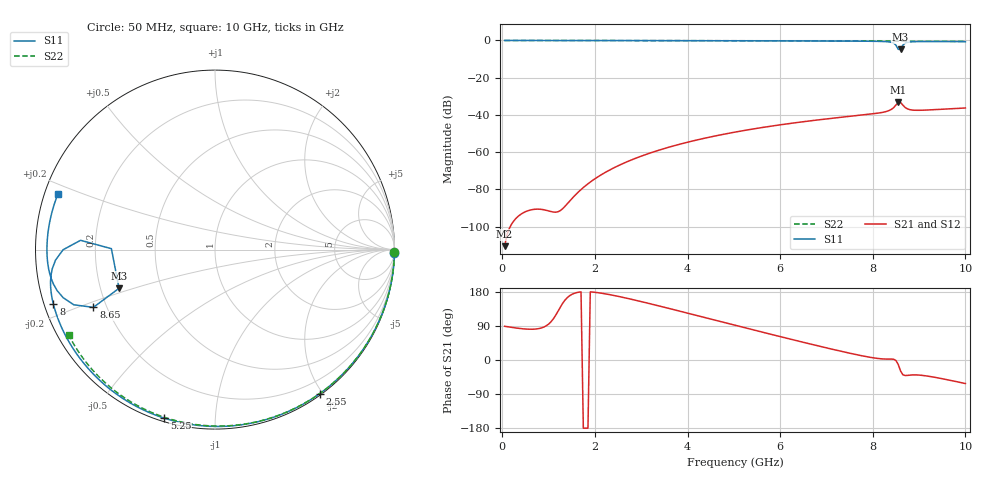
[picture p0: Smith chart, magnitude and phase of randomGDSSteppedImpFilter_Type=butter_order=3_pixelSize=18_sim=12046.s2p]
! freq	dB(S11)	phase(S11)	dB(S12)	phase(S12)
!  dB(S21)	phase(S21)	dB(S22)	phase(S22)
!S-par simulation data
#  GHz  S  DB  R 50
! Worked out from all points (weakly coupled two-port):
!   200 points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, 50 MHz to 10 GHz, reference 50 ohm
!   highest |S21| = -33.28 dB at 8.55 GHz (marker M1); lowest = -110.5 dB at 50 MHz (marker M2)
!   lowest |S11| = -4.8 dB at 8.6 GHz (marker M3), VSWR 3.72, Z = 13.9 - j8.97 ohm
!   |S11| at or under -10 dB: nowhere
!   |S22| runs from -0.5 to 0.0 dB; largest |S21 - S12| = 0
!   S11 on the Smith chart (normalised r, x): 50 MHz: open; 2.55 GHz: 0.02, -1.96; 5.25 GHz: 0.02, -0.74; 8 GHz: 0.03, -0.16; 8.65 GHz: 0.15, -0.22; 10 GHz: 0.04, +0.17
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0.05  -0.00 -1.1  -110.48 89.0  -110.48 89.0  -0.00 -0.9
0.85  -0.02 -18.4  -90.73 84.8  -90.73 84.8  -0.02 -14.6
1.7  -0.05 -36.5  -80.07 179.8  -80.07 179.8  -0.04 -29.0
1.75  -0.05 -37.5  -78.98 -179.8  -78.98 -179.8  -0.04 -29.8
2.1  -0.06 -44.8  -72.68 177.1  -72.68 177.1  -0.05 -35.6
2.55  -0.07 -54.1  -66.72 166.7  -66.72 166.7  -0.06 -43.0
3.4  -0.09 -71.1  -58.78 142.2  -58.78 142.2  -0.08 -56.6
4.2  -0.12 -86.8  -53.45 117.5  -53.45 117.5  -0.10 -69.0
5.05  -0.16 -102.9  -49.11 91.0  -49.11 91.0  -0.13 -81.8
5.25  -0.17 -106.7  -48.23 84.8  -48.23 84.8  -0.13 -84.7
6.7  -0.27 -134.1  -43.02 40.7  -43.02 40.7  -0.21 -105.3
8  -0.44 -161.4  -39.40 6.0  -39.40 6.0  -0.30 -123.0
8.35  -0.79 -173.3  -37.65 2.4  -37.65 2.4  -0.33 -127.7
8.45  -1.45 -180.0  -36.11 2.0  -36.11 2.0  -0.34 -129.0
8.5  -2.49 176.0  -34.74 -1.2  -34.74 -1.2  -0.34 -129.7
8.55  -4.77 179.5  -33.28 -11.9  -33.28 -11.9  -0.35 -130.3
8.6  -4.78 -158.1  -33.30 -28.9  -33.30 -28.9  -0.35 -131.0
8.65  -2.49 -154.6  -34.75 -38.9  -34.75 -38.9  -0.35 -131.7
8.75  -1.03 -162.5  -36.76 -40.6  -36.76 -40.6  -0.36 -133.0
8.95  -0.62 -171.8  -37.51 -39.4  -37.51 -39.4  -0.39 -135.7
9.4  -0.58 175.4  -37.07 -47.0  -37.07 -47.0  -0.43 -141.8
10  -0.65 160.3  -36.27 -62.2  -36.27 -62.2  -0.51 -149.9
